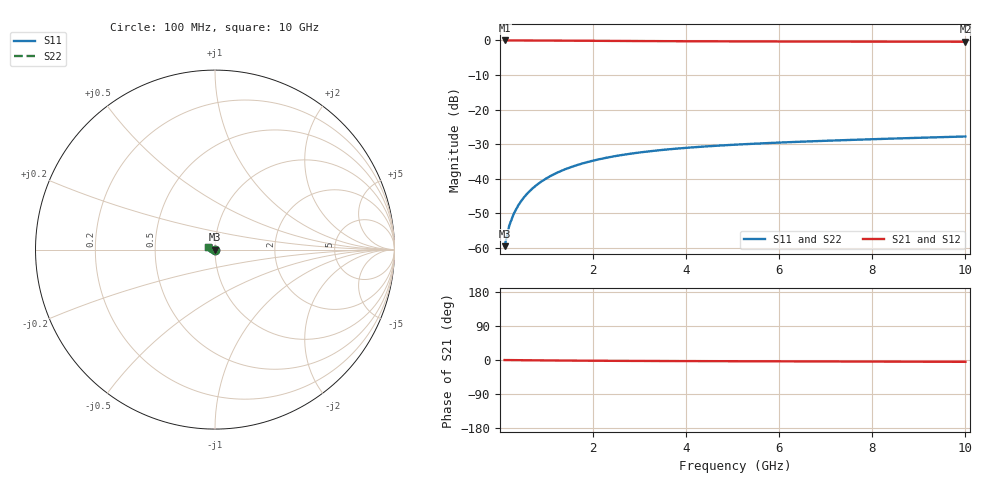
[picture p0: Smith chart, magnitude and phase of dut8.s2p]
! Touchstone file exported from HFSS 2024.1.0
!  File:  C:/UserFiles/LocalFiles/RDL_TSV_Batchsim/temp_TSV1_8_1778746298.aedt
!  Generated:  04:17:04 PM May 14, 2026
!  Design:  TSV1
!  Project:  temp_TSV1_8_1778746298
!  Setup:  Setup1
!  Solution:  Sweep
! Variables:
!  dtsv = 10.25um
!  hbump = 3um
!  htsv = 71.25um
!  lrdl = 252.1521522um
!  p = 40
!  p1 = 59.14um
!  t = 500um
!  trdl = 3um
!  wrdl = 24.89489489um
# GHz S MA R 50.000000
! Terminal data exported
! Port[1] = TSV22_T1
! Port[2] = TSV22_T2
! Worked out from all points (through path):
!   100 points, 100 MHz to 10 GHz, reference 50 ohm
!   highest |S21| = 0.00 dB at 100 MHz (marker M1); lowest = -0.4 dB at 10 GHz (marker M2)
!   lowest |S11| = -59.6 dB at 100 MHz (marker M3), VSWR 1.00, Z = 50 - j0.105 ohm
!   |S11| at or under -10 dB: start of sweep to end of sweep
!   |S22| runs from -59.6 to -27.8 dB; largest |S21 - S12| = 5.2e-15
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0.1  0.001051 -85.2  0.9998 -0.1  0.9998 -0.1  0.001051 -85.2
! Gamma 0 0 0 0
! Port Impedance 50 0 50 0
0.2  0.002091 -90.6  0.9997 -0.2  0.9997 -0.2  0.002091 -90.6
0.3  0.003133 -93.8  0.9995 -0.3  0.9995 -0.3  0.003133 -93.8
0.4  0.004169 -96.5  0.9992 -0.5  0.9992 -0.5  0.004169 -96.5
0.5  0.005196 -99.0  0.9988 -0.6  0.9988 -0.6  0.005196 -99.0
0.6  0.006211 -101.3  0.9984 -0.7  0.9984 -0.7  0.006211 -101.3
0.7  0.007211 -103.6  0.9979 -0.8  0.9979 -0.8  0.007211 -103.6
0.8  0.008193 -105.8  0.9974 -0.9  0.9974 -0.9  0.008193 -105.8
0.9  0.009156 -108.0  0.9968 -1.0  0.9968 -1.0  0.009156 -108.0
1.1  0.01102 -112.1  0.9955 -1.2  0.9955 -1.2  0.01102 -112.1
1.4  0.01363 -118.0  0.9932 -1.5  0.9932 -1.5  0.01363 -118.0
1.6  0.01525 -121.8  0.9916 -1.6  0.9916 -1.6  0.01525 -121.8
1.8  0.01676 -125.4  0.9899 -1.8  0.9899 -1.8  0.01676 -125.4
2.1  0.01884 -130.5  0.9874 -2.0  0.9874 -2.0  0.01884 -130.5
2.5  0.02129 -136.8  0.9841 -2.2  0.9841 -2.2  0.02129 -136.8
2.9  0.02339 -142.5  0.981 -2.4  0.981 -2.4  0.02339 -142.5
3.4  0.02563 -149.0  0.9776 -2.7  0.9776 -2.7  0.02563 -149.0
4.2  0.02852 -158.1  0.9729 -3.0  0.9729 -3.0  0.02852 -158.1
5.1  0.03108 -166.7  0.9689 -3.3  0.9689 -3.3  0.03108 -166.7
6.7  0.03467 -179.2  0.964 -3.8  0.964 -3.8  0.03467 -179.2
8.4  0.03788 170.2  0.9607 -4.3  0.9607 -4.3  0.03788 170.2
10  0.04072 161.9  0.9586 -4.8  0.9586 -4.8  0.04072 161.9
